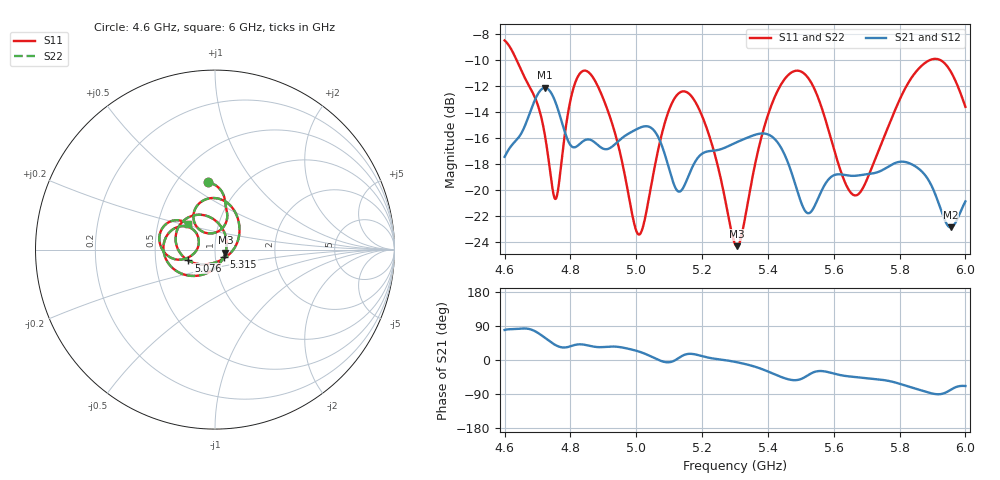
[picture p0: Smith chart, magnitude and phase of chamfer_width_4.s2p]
! TOUCHSTONE file generated by CST MICROWAVE STUDIO
! Date and time: Sun Dec  1 17:26:32 2024
! Project name: test_tuning.cst
! Parameters = {airCoaxOuterDiameter=3; chamferAngle=45; chamferWidth=8; connectorLength=10; drillingHoleDiameter=4.1; feedLength=60; flareDiameter=130; flareLength=70; gratingDistance=0; gratingGap=1.90274; outletLength=30; polarizerLength=134; probe1Diameter=1.3; probe1Distance=14; probe1Length=12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
! Header version: 2024
! Port assignment regex: !\s*Touchstone port\s*([0-9]+)\s*=\s*(CST MWS port|CST DES external port|CST DES block port)\s*(.+)\s* \(\"(.*)\"\)(\s*mode\s*([0-9]+))?.*
! Touchstone port assignment:
! Touchstone port 1 = CST MWS port 1 ("Input1")
! Touchstone port 2 = CST MWS port 2 ("Input2")
# GHz S MA R 50
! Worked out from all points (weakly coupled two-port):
!   1001 points, 4.6 GHz to 6 GHz, reference 50 ohm
!   highest |S21| = -12.15 dB at 4.722 GHz (marker M1); lowest = -22.9 dB at 5.955 GHz (marker M2)
!   lowest |S11| = -24.4 dB at 5.306 GHz (marker M3), VSWR 1.13, Z = 56.2 - j1.87 ohm
!   |S11| at or under -10 dB: 4.636 GHz to 5.893 GHz (1.257 GHz wide, 23.9 % of centre); 5.923 GHz to end of sweep
!   |S22| runs from -24.4 to -8.5 dB; largest |S21 - S12| = 3.7e-07
!   S11 on the Smith chart (normalised r, x): 4.6 GHz: 0.71, +0.62; 5.076 GHz: 0.74, -0.09; 5.315 GHz: 1.10, -0.09; 6 GHz: 0.71, +0.21
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4.6  0.376 95.5  0.1338 79.2  0.1338 79.2  0.376 95.5
4.7218  0.1639 67.9  0.247 59.0  0.247 59.0  0.1639 67.9
4.7568  0.0928 103.6  0.2135 38.4  0.2135 38.4  0.0928 103.6
4.7988  0.2174 123.6  0.1493 35.9  0.1493 35.9  0.2174 123.6
4.8338  0.2847 100.3  0.1521 41.2  0.1521 41.2  0.2847 100.3
4.9136  0.2015 48.9  0.1435 35.1  0.1435 35.1  0.2015 48.9
5.0046  0.06759 -56.3  0.1719 23.3  0.1719 23.3  0.06759 -56.3
5.0676  0.1445 -150.1  0.1586 0.2  0.1586 0.2  0.1445 -150.1
5.076  0.1608 -157.8  0.1499 -2.7  0.1499 -2.7  0.1608 -157.8
5.1264  0.2336 158.6  0.09864 3.9  0.09864 3.9  0.2336 158.6
5.174  0.2236 121.2  0.1248 15.6  0.1248 15.6  0.2236 121.2
5.3  0.06173 -3.0  0.1513 -4.9  0.1513 -4.9  0.06173 -3.0
5.3056  0.06055 -15.9  0.1525 -5.8  0.1525 -5.8  0.06055 -15.9
5.3154  0.06332 -38.4  0.1544 -7.6  0.1544 -7.6  0.06332 -38.4
5.4246  0.2335 -145.8  0.1548 -39.2  0.1548 -39.2  0.2335 -145.8
5.4806  0.2865 -178.7  0.1074 -53.3  0.1074 -53.3  0.2865 -178.7
5.5338  0.2555 152.6  0.08303 -34.3  0.08303 -34.3  0.2555 152.6
5.6598  0.09543 163.1  0.113 -44.5  0.113 -44.5  0.09543 163.1
5.7676  0.1774 -163.0  0.1231 -55.3  0.1231 -55.3  0.1774 -163.0
5.8698  0.3026 176.5  0.1168 -81.2  0.1168 -81.2  0.3026 176.5
5.9552  0.2858 145.7  0.07148 -78.6  0.07148 -78.6  0.2858 145.7
6  0.2086 137.2  0.0901 -68.7  0.0901 -68.7  0.2086 137.2
